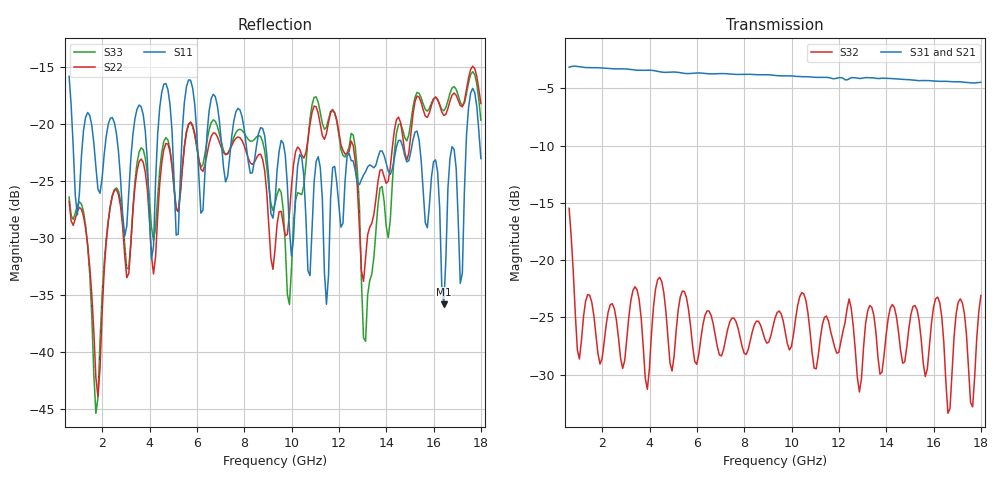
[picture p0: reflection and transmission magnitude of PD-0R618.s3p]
! MARKI MICROWAVE INC.
! Email:  info@markimicrowave.com  Phone:  408-778-4200
! Model Number:  PD0R618  Date:  07/11
! Filename:		PD-0R618.S3P  Version: 1.0
! Description:  3-port S-parameter data for Power Divider PD0R618
! Frequency Range: 	0.6 GHz to 18 GHz
! Port Configuration:	PORT 1: COMMON, PORT 2 and Port 3: Output
! S3P File: Measurements: Mag<S11> Ang<S11> Mag<S12> Ang<S12> Mag<S13> Ang<S13>! row 1
!  Mag<S21> Ang<S21> Mag<S22> Ang<S22> Mag<S23> Ang<S23>! row 2
!  Mag<S31> Ang<S31> Mag<S32> Ang<S32> Mag<S33> Ang<S33>! row 3
# GHz S DB R 50
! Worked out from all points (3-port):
!   201 points, 600 MHz to 18 GHz, reference 50 ohm
!   strongest paths, dB at 600 MHz, 4.95 GHz, 9.3 GHz, 13.65 GHz, 18 GHz:
!     S31: -3.2, -3.6, -3.9, -4.1, -4.5
!     S21: -3.2, -3.6, -3.9, -4.2, -4.6
!     S32: -15.5, -29.7, -25.1, -28.5, -23.1
!   lowest |S11| = -35.8 dB at 16.43 GHz (marker M1), VSWR 1.03, Z = 49.1 + j1.35 ohm
!   |S11| at or under -10 dB: start of sweep to end of sweep
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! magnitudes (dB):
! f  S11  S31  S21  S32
! 600 MHz  -15.8  -3.2  -3.2  -15.5
! 1.731 GHz  -23.8  -3.2  -3.3  -26.4
! 3.645 GHz  -18.5  -3.4  -3.5  -25.0
! 4.08 GHz  -31.9  -3.4  -3.5  -26.4
! 4.602 GHz  -16.5  -3.6  -3.6  -22.8
! 9.3 GHz  -26.9  -3.9  -3.9  -25.1
! 12.61 GHz  -23.2  -4.1  -4.1  -25.7
! 13.13 GHz  -24.2  -4.1  -4.1  -25.5
! 16.43 GHz  -35.8  -4.4  -4.5  -27.2
! 18 GHz  -23.0  -4.5  -4.6  -23.1
